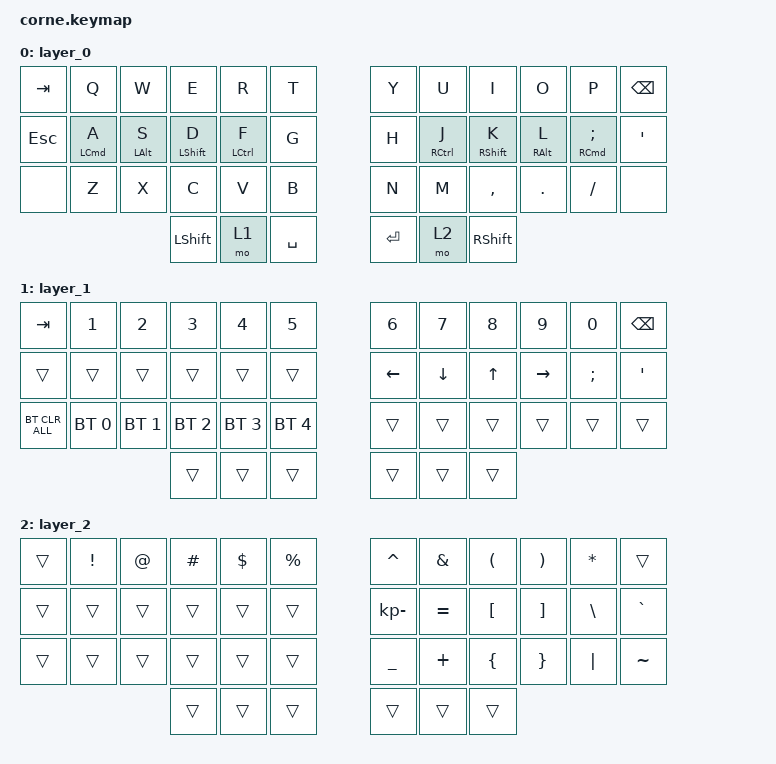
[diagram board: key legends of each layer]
#include <behaviors.dtsi>
#include <dt-bindings/zmk/bt.h>
#include <dt-bindings/zmk/keys.h>

/ {
    behaviors {
        HomeRow: HomeRow {
            compatible = "zmk,behavior-hold-tap";
            label = "HOMEROW";
            bindings = <&kp>, <&kp>;

            #binding-cells = <2>;
            quick-tap-ms = <175>;
            tapping-term-ms = <200>;
            flavor = "tap-preferred";
        };
    };

    keymap {
        compatible = "zmk,keymap";

        layer_0 {
            bindings = <
&kp TAB  &kp Q            &kp W                &kp E                  &kp R             &kp T        &kp Y    &kp U             &kp I                   &kp O                 &kp P                    &kp BSPC
&kp ESC  &HomeRow LCMD A  &HomeRow LEFT_ALT S  &HomeRow LEFT_SHIFT D  &HomeRow LCTRL F  &kp G        &kp H    &HomeRow RCTRL J  &HomeRow RIGHT_SHIFT K  &HomeRow RIGHT_ALT L  &HomeRow RCMD SEMICOLON  &kp SQT
&none    &kp Z            &kp X                &kp C                  &kp V             &kp B        &kp N    &kp M             &kp COMMA               &kp DOT               &kp FSLH                 &none
                                               &kp LSHFT              &mo 1             &kp SPACE    &kp RET  &mo 2             &kp RSHFT
            >;
        };

        layer_1 {
            bindings = <
&kp TAB         &kp N1        &kp N2        &kp N3        &kp N4        &kp N5          &kp N6    &kp N7    &kp N8  &kp N9     &kp N0    &kp BSPC
&trans          &trans        &trans        &trans        &trans        &trans          &kp LEFT  &kp DOWN  &kp UP  &kp RIGHT  &kp SEMI  &kp SQT
&bt BT_CLR_ALL  &bt BT_SEL 0  &bt BT_SEL 1  &bt BT_SEL 2  &bt BT_SEL 3  &bt BT_SEL 4    &trans    &trans    &trans  &trans     &trans    &trans
                                            &trans        &trans        &trans          &trans    &trans    &trans
            >;
        };

        layer_2 {
            bindings = <
&trans  &kp EXCL  &kp AT  &kp POUND  &kp DOLLAR  &kp PERCENT    &kp CARET     &kp AMPERSAND  &kp LEFT_PARENTHESIS  &kp RIGHT_PARENTHESIS  &kp ASTERISK  &trans
&trans  &trans    &trans  &trans     &trans      &trans         &kp KP_MINUS  &kp EQUAL      &kp LBKT              &kp RBKT               &kp BSLH      &kp GRAVE
&trans  &trans    &trans  &trans     &trans      &trans         &kp UNDER     &kp PLUS       &kp LEFT_BRACE        &kp RIGHT_BRACE        &kp PIPE      &kp TILDE
                          &trans     &trans      &trans         &trans        &trans         &trans
            >;
        };
    };
};
